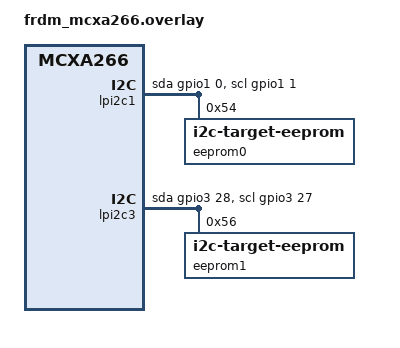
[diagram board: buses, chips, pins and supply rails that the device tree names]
/*
 * Copyright 2024 NXP
 *
 * SPDX-License-Identifier: Apache-2.0
 */

/* To test this sample, connect
 * LPI2C1 SCL(J4-12)  -->  LPI2C3 SCL(J5-5)
 * LPI2C1 SDA(J4-10)  -->  LPI2C3 SDA(J5-6)
 */

&lpi2c1 {
	scl-gpios = <&gpio1 1 (GPIO_ACTIVE_HIGH | GPIO_PULL_UP)>;
	sda-gpios = <&gpio1 0 (GPIO_ACTIVE_HIGH | GPIO_PULL_UP)>;
	recover-bus-on-init;

	eeprom0: eeprom@54 {
		compatible = "zephyr,i2c-target-eeprom";
		reg = <0x54>;
		size = <256>;
	};
};

&lpi2c3 {
	scl-gpios = <&gpio3 27 (GPIO_ACTIVE_HIGH | GPIO_PULL_UP)>;
	sda-gpios = <&gpio3 28 (GPIO_ACTIVE_HIGH | GPIO_PULL_UP)>;
	recover-bus-on-init;

	eeprom1: eeprom@56 {
		compatible = "zephyr,i2c-target-eeprom";
		reg = <0x56>;
		size = <256>;
	};
};
